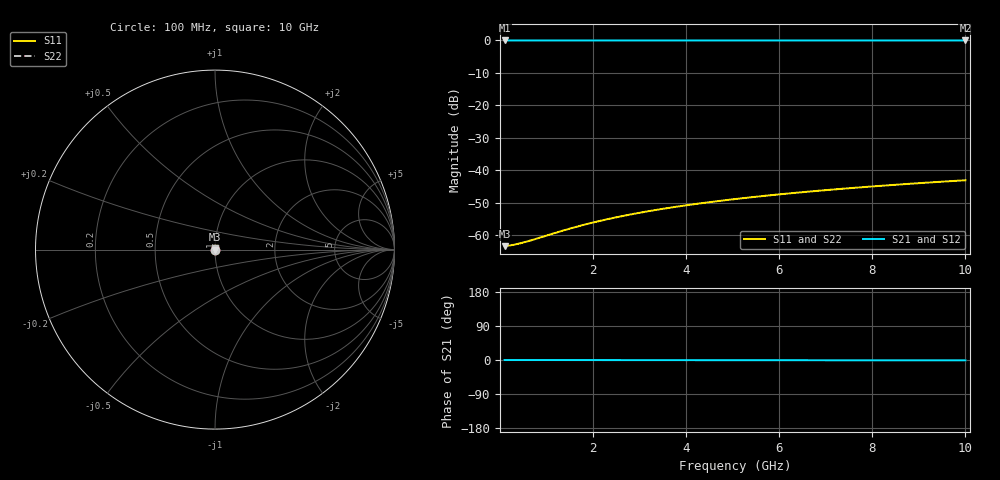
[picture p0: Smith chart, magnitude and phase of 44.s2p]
# Hz S RI R 50.00
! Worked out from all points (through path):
!   100 points, 100 MHz to 10 GHz, reference 50 ohm
!   highest |S21| = -0.01 dB at 100 MHz (marker M1); lowest = 0.0 dB at 10 GHz (marker M2)
!   lowest |S11| = -63.5 dB at 100 MHz (marker M3), VSWR 1.00, Z = 50.1 + j0.00693 ohm
!   |S11| at or under -10 dB: start of sweep to end of sweep
!   |S22| runs from -63.5 to -43.1 dB; largest |S21 - S12| = 0
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1e8  0.000667 6.92e-05  0.9993 -0.000166  0.9993 -0.000166  0.000667 6.92e-05
2e8  0.000672 0.000138  0.9993 -0.000333  0.9993 -0.000333  0.000672 0.000138
3e8  0.000675 0.000208  0.9993 -0.000499  0.9993 -0.000499  0.000675 0.000208
4e8  0.000678 0.000277  0.9993 -0.000666  0.9993 -0.000666  0.000678 0.000277
5e8  0.00068 0.000346  0.9993 -0.000832  0.9993 -0.000832  0.00068 0.000346
7e8  0.000684 0.000485  0.9993 -0.00116  0.9993 -0.00116  0.000684 0.000485
1.4e9  0.000695 0.000969  0.9993 -0.00233  0.9993 -0.00233  0.000695 0.000969
1.8e9  0.0007 0.00125  0.9993 -0.003  0.9993 -0.003  0.0007 0.00125
2.2e9  0.000705 0.00152  0.9993 -0.00366  0.9993 -0.00366  0.000705 0.00152
2.6e9  0.000711 0.0018  0.9993 -0.00433  0.9993 -0.00433  0.000711 0.0018
3e9  0.000716 0.00208  0.9993 -0.00499  0.9993 -0.00499  0.000716 0.00208
3.4e9  0.000721 0.00235  0.9993 -0.00566  0.9993 -0.00566  0.000721 0.00235
3.8e9  0.000727 0.00263  0.9993 -0.00632  0.9993 -0.00632  0.000727 0.00263
4.2e9  0.000733 0.00291  0.9993 -0.00699  0.9993 -0.00699  0.000733 0.00291
4.6e9  0.000739 0.00318  0.9992 -0.00766  0.9992 -0.00766  0.000739 0.00318
5.1e9  0.000748 0.00353  0.9992 -0.00849  0.9992 -0.00849  0.000748 0.00353
5.9e9  0.000762 0.00408  0.9992 -0.00982  0.9992 -0.00982  0.000762 0.00408
6.7e9  0.000778 0.00464  0.9992 -0.0112  0.9992 -0.0112  0.000778 0.00464
7.5e9  0.000795 0.00519  0.9992 -0.0125  0.9992 -0.0125  0.000795 0.00519
8.4e9  0.000816 0.00581  0.9991 -0.014  0.9991 -0.014  0.000816 0.00581
9.2e9  0.000836 0.00637  0.9991 -0.0153  0.9991 -0.0153  0.000836 0.00637
1e10  0.000858 0.00692  0.9991 -0.0166  0.9991 -0.0166  0.000858 0.00692
